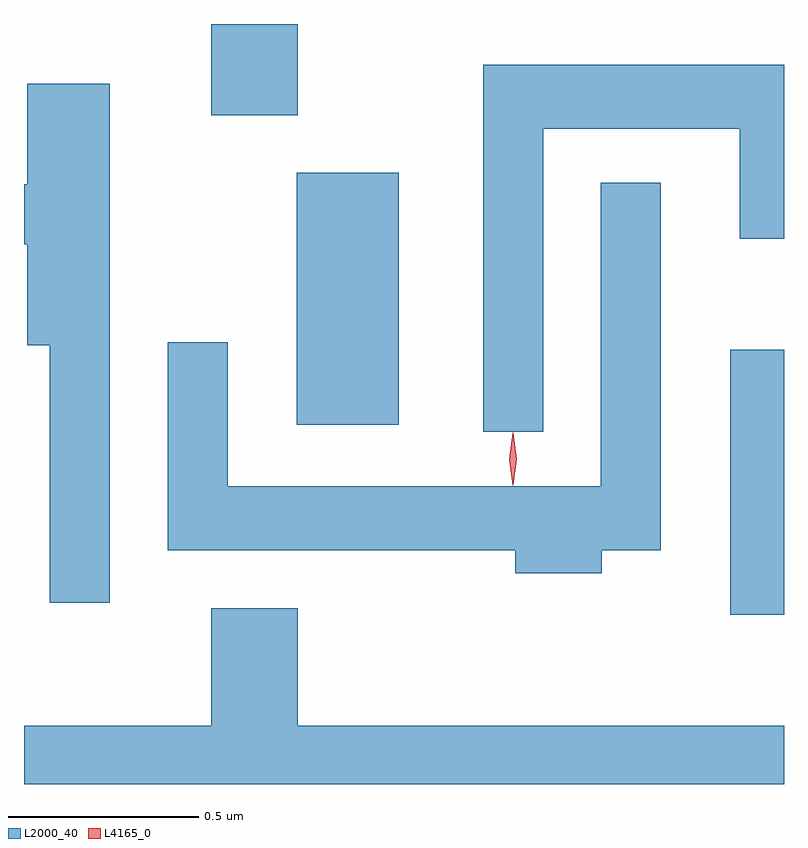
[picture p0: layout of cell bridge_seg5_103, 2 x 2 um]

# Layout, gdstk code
import gdstk
lib = gdstk.Library(unit=1e-6, precision=1e-09)
def R(c, l, rs):  # rectangles x0, y0, x1, y1
    for r in rs: c.add(gdstk.rectangle(r[:2], r[2:], *l))
def P(c, l, *ps):  # polygons
    for p in ps: c.add(gdstk.Polygon(p, *l))
L2000_40 = (2000, 40)
L4165_0 = (4165, 0)

bridge_seg5_103 = lib.new_cell('bridge_seg5_103')
R(bridge_seg5_103, L2000_40, [(1227.616,1481.776,1227.758,1482.474), (1226.476,1482.276,1226.744,1482.939), (1226.251,1483.091,1226.479,1483.331)])
P(bridge_seg5_103, L2000_40, [(1227.124,1483.056),(1227.641,1483.056),(1227.641,1482.766),(1227.758,1482.766),(1227.758,1483.224),(1226.966,1483.224),(1226.966,1482.258),(1227.124,1482.258)],
  [(1225.984,1483.174),(1225.766,1483.174),(1225.766,1482.909),(1225.758,1482.909),(1225.758,1482.751),(1225.766,1482.751),(1225.766,1482.486),(1225.826,1482.486),(1225.826,1481.808),(1225.984,1481.808)],
  [(1227.279,1481.946),(1227.434,1481.946),(1227.434,1482.913),(1227.276,1482.913),(1227.276,1482.114),(1226.294,1482.114),(1226.294,1482.493),(1226.136,1482.493),(1226.136,1481.946),(1227.051,1481.946),(1227.051,1481.886),(1227.279,1481.886)],
  [(1227.758,1481.484),(1226.479,1481.484),(1226.479,1481.794),(1226.251,1481.794),(1226.251,1481.484),(1225.758,1481.484),(1225.758,1481.331),(1227.758,1481.331)])
P(bridge_seg5_103, L4165_0, [(1227.045,1482.119),(1227.044,1482.12),(1227.035,1482.186),(1227.044,1482.252),(1227.045,1482.253),(1227.045,1482.252),(1227.055,1482.186),(1227.045,1482.12)],
  [(1227.044,1482.117),(1227.035,1482.186),(1227.044,1482.256),(1227.045,1482.256),(1227.045,1482.256),(1227.055,1482.186),(1227.045,1482.117),(1227.045,1482.117)])

lib.write_gds('bridge_seg5_103.gds')
